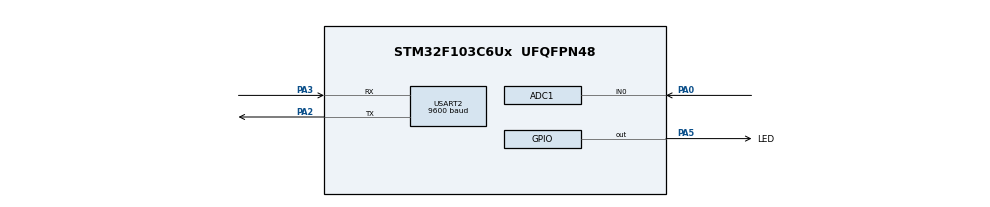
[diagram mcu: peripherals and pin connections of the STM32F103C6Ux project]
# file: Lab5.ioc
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ADC1.Channel-0\#ChannelRegularConversion=ADC_CHANNEL_0
ADC1.ContinuousConvMode=ENABLE
ADC1.NbrOfConversionFlag=1
ADC1.Rank-0\#ChannelRegularConversion=1
ADC1.SamplingTime-0\#ChannelRegularConversion=ADC_SAMPLETIME_1CYCLE_5
ADC1.master=1
Mcu.Family=STM32F1
Mcu.Name=STM32F103C6Ux
Mcu.Package=UFQFPN48
NVIC.PriorityGroup=NVIC_PRIORITYGROUP_4
NVIC.TIM2_IRQn=true\:0\:0\:false\:false\:true\:true\:true
NVIC.USART2_IRQn=true\:0\:0\:false\:false\:true\:true\:true
PA0-WKUP.Signal=ADCx_IN0
PA2.Mode=Asynchronous
PA2.Signal=USART2_TX
PA3.Mode=Asynchronous
PA3.Signal=USART2_RX
PA5.GPIO_Label=LED
PA5.Signal=GPIO_Output
PA6.Signal=S_TIM3_CH1
ProjectManager.HeapSize=0x200
ProjectManager.StackSize=0x400
ProjectManager.TargetToolchain=STM32CubeIDE
RCC.APB1Freq_Value=8000000
RCC.APB2Freq_Value=8000000
SH.ADCx_IN0.0=ADC1_IN0,IN0
SH.S_TIM3_CH1.0=TIM3_CH1
TIM2.Period=9
TIM2.Prescaler=7999
USART2.BaudRate=9600
USART2.VirtualMode=VM_ASYNC
VP_SYS_VS_ND.Mode=No_Debug
VP_TIM2_VS_ClockSourceINT.Mode=Internal
board=custom

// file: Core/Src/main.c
/* USER CODE BEGIN Header */
/**
  ******************************************************************************
  * @file           : main.c
  * @brief          : Main program body
  ******************************************************************************
  * @attention
  *
  * <h2><center>&copy; Copyright (c) 2022 STMicroelectronics.
  * All rights reserved.</center></h2>
  *
  * This software component is licensed by ST under BSD 3-Clause license,
  * the "License"; You may not use this file except in compliance with the
  * License. You may obtain a copy of the License at:
  *                        opensource.org/licenses/BSD-3-Clause
  *
  ******************************************************************************
  */
/* USER CODE END Header */
#include "main.h"

/* USER CODE BEGIN Includes */
#include "software_timer.h"
#include "stdio.h"
#include "fsm.h"
/* USER CODE END Includes */

ADC_HandleTypeDef hadc1;

TIM_HandleTypeDef htim2;

UART_HandleTypeDef huart2;

/* USER CODE BEGIN PV */
#define MAX_BUFFER_SIZE 30
uint8_t temp = 0;
uint8_t buffer[MAX_BUFFER_SIZE];
uint8_t index_buffer = 0;
uint8_t buffer_flag = 0;
uint32_t ADC_value = 0;
/* USER CODE END PV */

void SystemClock_Config(void);
static void MX_GPIO_Init(void);
static void MX_ADC1_Init(void);
static void MX_USART2_UART_Init(void);
static void MX_TIM2_Init(void);

/* USER CODE BEGIN 0 */
void HAL_TIM_PeriodElapsedCallback(TIM_HandleTypeDef *htim) {
	timerRun();
}
void HAL_UART_RxCpltCallback(UART_HandleTypeDef *huart) {
	if(huart->Instance == USART2) {
		//HAL_UART_Transmit(&huart2, &temp, 1, 50);
		buffer[index_buffer++] = temp;
		if(index_buffer == 30) index_buffer = 0;
		buffer_flag = 1;
		HAL_UART_Receive_IT(&huart2, &temp, 1);
	}
}
/* USER CODE END 0 */

int main(void)
{

  /* MCU Configuration--------------------------------------------------------*/

  /* Reset of all peripherals, Initializes the Flash interface and the Systick. */
  HAL_Init();

  /* Configure the system clock */
  SystemClock_Config();

  /* Initialize all configured peripherals */
  MX_GPIO_Init();
  MX_ADC1_Init();
  MX_USART2_UART_Init();
  MX_TIM2_Init();
  /* USER CODE BEGIN 2 */
  HAL_UART_Receive_IT(&huart2, &temp, 1);
  HAL_TIM_Base_Start_IT(&htim2);
  HAL_ADC_Start(&hadc1);
  /* USER CODE END 2 */

  /* Infinite loop */
  /* USER CODE BEGIN WHILE */
  //char str[50];
  setTimer6(1000);
  while (1)
  {
	  //ADC_value=HAL_ADC_GetValue(&hadc1);
	  //HAL_UART_Transmit(&huart2, (void *)str, sprintf(str, "%d\n", ADC_value), 1000);
	  //HAL_Delay(500);
	  if(buffer_flag == 1){
		command_parser_fsm();
		buffer_flag = 0;
	  }
	  uart_communication_fsm();
	  if (timer6_flag==1) {
		  HAL_GPIO_TogglePin(LED_GPIO_Port, LED_Pin);
		  setTimer6(1000);
	  }
    /* USER CODE END WHILE */

  }
}

void SystemClock_Config(void)
{
  RCC_OscInitTypeDef RCC_OscInitStruct = {0};
  RCC_ClkInitTypeDef RCC_ClkInitStruct = {0};
  RCC_PeriphCLKInitTypeDef PeriphClkInit = {0};

  /** Initializes the RCC Oscillators according to the specified parameters
  * in the RCC_OscInitTypeDef structure.
  */
  RCC_OscInitStruct.OscillatorType = RCC_OSCILLATORTYPE_HSI;
  RCC_OscInitStruct.HSIState = RCC_HSI_ON;
  RCC_OscInitStruct.HSICalibrationValue = RCC_HSICALIBRATION_DEFAULT;
  RCC_OscInitStruct.PLL.PLLState = RCC_PLL_NONE;
  if (HAL_RCC_OscConfig(&RCC_OscInitStruct) != HAL_OK)
  {
    Error_Handler();
  }
  /** Initializes the CPU, AHB and APB buses clocks
  */
  RCC_ClkInitStruct.ClockType = RCC_CLOCKTYPE_HCLK|RCC_CLOCKTYPE_SYSCLK
                              |RCC_CLOCKTYPE_PCLK1|RCC_CLOCKTYPE_PCLK2;
  RCC_ClkInitStruct.SYSCLKSource = RCC_SYSCLKSOURCE_HSI;
  RCC_ClkInitStruct.AHBCLKDivider = RCC_SYSCLK_DIV1;
  RCC_ClkInitStruct.APB1CLKDivider = RCC_HCLK_DIV1;
  RCC_ClkInitStruct.APB2CLKDivider = RCC_HCLK_DIV1;

  if (HAL_RCC_ClockConfig(&RCC_ClkInitStruct, FLASH_LATENCY_0) != HAL_OK)
  {
    Error_Handler();
  }
  PeriphClkInit.PeriphClockSelection = RCC_PERIPHCLK_ADC;
  PeriphClkInit.AdcClockSelection = RCC_ADCPCLK2_DIV2;
  if (HAL_RCCEx_PeriphCLKConfig(&PeriphClkInit) != HAL_OK)
  {
    Error_Handler();
  }
}

static void MX_ADC1_Init(void)
{

  ADC_ChannelConfTypeDef sConfig = {0};

  /** Common config
  */
  hadc1.Instance = ADC1;
  hadc1.Init.ScanConvMode = ADC_SCAN_DISABLE;
  hadc1.Init.ContinuousConvMode = ENABLE;
  hadc1.Init.DiscontinuousConvMode = DISABLE;
  hadc1.Init.ExternalTrigConv = ADC_SOFTWARE_START;
  hadc1.Init.DataAlign = ADC_DATAALIGN_RIGHT;
  hadc1.Init.NbrOfConversion = 1;
  if (HAL_ADC_Init(&hadc1) != HAL_OK)
  {
    Error_Handler();
  }
  /** Configure Regular Channel
  */
  sConfig.Channel = ADC_CHANNEL_0;
  sConfig.Rank = ADC_REGULAR_RANK_1;
  sConfig.SamplingTime = ADC_SAMPLETIME_1CYCLE_5;
  if (HAL_ADC_ConfigChannel(&hadc1, &sConfig) != HAL_OK)
  {
    Error_Handler();
  }

}

static void MX_TIM2_Init(void)
{

  TIM_ClockConfigTypeDef sClockSourceConfig = {0};
  TIM_MasterConfigTypeDef sMasterConfig = {0};

  htim2.Instance = TIM2;
  htim2.Init.Prescaler = 7999;
  htim2.Init.CounterMode = TIM_COUNTERMODE_UP;
  htim2.Init.Period = 9;
  htim2.Init.ClockDivision = TIM_CLOCKDIVISION_DIV1;
  htim2.Init.AutoReloadPreload = TIM_AUTORELOAD_PRELOAD_DISABLE;
  if (HAL_TIM_Base_Init(&htim2) != HAL_OK)
  {
    Error_Handler();
  }
  sClockSourceConfig.ClockSource = TIM_CLOCKSOURCE_INTERNAL;
  if (HAL_TIM_ConfigClockSource(&htim2, &sClockSourceConfig) != HAL_OK)
  {
    Error_Handler();
  }
  sMasterConfig.MasterOutputTrigger = TIM_TRGO_RESET;
  sMasterConfig.MasterSlaveMode = TIM_MASTERSLAVEMODE_DISABLE;
  if (HAL_TIMEx_MasterConfigSynchronization(&htim2, &sMasterConfig) != HAL_OK)
  {
    Error_Handler();
  }

}

static void MX_USART2_UART_Init(void)
{

  huart2.Instance = USART2;
  huart2.Init.BaudRate = 9600;
  huart2.Init.WordLength = UART_WORDLENGTH_8B;
  huart2.Init.StopBits = UART_STOPBITS_1;
  huart2.Init.Parity = UART_PARITY_NONE;
  huart2.Init.Mode = UART_MODE_TX_RX;
  huart2.Init.HwFlowCtl = UART_HWCONTROL_NONE;
  huart2.Init.OverSampling = UART_OVERSAMPLING_16;
  if (HAL_UART_Init(&huart2) != HAL_OK)
  {
    Error_Handler();
  }

}

static void MX_GPIO_Init(void)
{
  GPIO_InitTypeDef GPIO_InitStruct = {0};

  /* GPIO Ports Clock Enable */
  __HAL_RCC_GPIOA_CLK_ENABLE();

  /*Configure GPIO pin Output Level */
  HAL_GPIO_WritePin(LED_GPIO_Port, LED_Pin, GPIO_PIN_RESET);

  /*Configure GPIO pin : LED_Pin */
  GPIO_InitStruct.Pin = LED_Pin;
  GPIO_InitStruct.Mode = GPIO_MODE_OUTPUT_PP;
  GPIO_InitStruct.Pull = GPIO_NOPULL;
  GPIO_InitStruct.Speed = GPIO_SPEED_FREQ_LOW;
  HAL_GPIO_Init(LED_GPIO_Port, &GPIO_InitStruct);

  /*Configure GPIO pin : PA6 */
  GPIO_InitStruct.Pin = GPIO_PIN_6;
  GPIO_InitStruct.Mode = GPIO_MODE_AF_PP;
  GPIO_InitStruct.Speed = GPIO_SPEED_FREQ_LOW;
  HAL_GPIO_Init(GPIOA, &GPIO_InitStruct);

}

void Error_Handler(void)
{
  __disable_irq();
  while (1)
  {
  }
}

/************************ (C) COPYRIGHT STMicroelectronics *****END OF FILE****/
